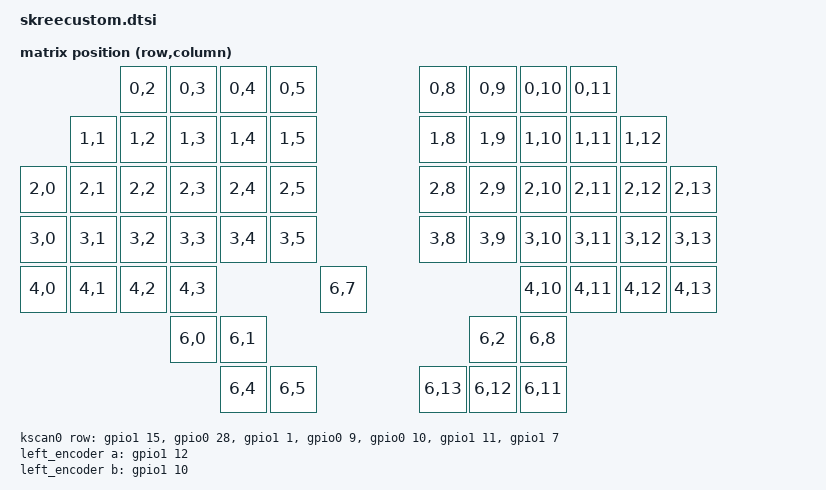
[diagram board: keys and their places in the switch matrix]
#include <dt-bindings/zmk/matrix_transform.h>
#include <input/processors.dtsi>
#include <dt-bindings/zmk/input_transform.h>

 / {
     chosen {
        zmk,kscan = &kscan0;
        zmk,matrix_transform = &default_transform;
    };

 
     default_transform: keymap_transform_0 {
         compatible = "zmk,matrix-transform";
         columns = <16>;
         rows = <7>;

         map = <
                    RC(0,2) RC(0,3) RC(0,4) RC(0,5)                     RC(0,8) RC(0,9) RC(0,10) RC(0,11)
            RC(1,1) RC(1,2) RC(1,3) RC(1,4) RC(1,5)                     RC(1,8) RC(1,9) RC(1,10) RC(1,11) RC(1,12)
    RC(2,0) RC(2,1) RC(2,2) RC(2,3) RC(2,4) RC(2,5)                     RC(2,8) RC(2,9) RC(2,10) RC(2,11) RC(2,12) RC(2,13) 
    RC(3,0) RC(3,1) RC(3,2) RC(3,3) RC(3,4) RC(3,5)                     RC(3,8) RC(3,9) RC(3,10) RC(3,11) RC(3,12) RC(3,13) 
    RC(4,0) RC(4,1) RC(4,2) RC(4,3)                 RC(6,7)                             RC(4,10) RC(4,11) RC(4,12) RC(4,13) 

			                RC(6,0) RC(6,1) RC(6,2) 	                                  RC(6,8)
			            		    RC(6,4) RC(6,5) 	                RC(6,13) RC(6,12) RC(6,11)




         >;
     };

     kscan0: kscan_0 {
        compatible = "zmk,kscan-gpio-matrix";
        wakeup-source;
        diode-direction = "col2row";
        row-gpios
             = <&gpio1 15 (GPIO_ACTIVE_HIGH | GPIO_PULL_DOWN)> //r1-7 1.15 0.28 1.01 0.09 0.10 1.11 1.07thumbs
            , <&gpio0 28 (GPIO_ACTIVE_HIGH | GPIO_PULL_DOWN)> 
            , <&gpio1 1 (GPIO_ACTIVE_HIGH | GPIO_PULL_DOWN)> 
            , <&gpio0 9 (GPIO_ACTIVE_HIGH | GPIO_PULL_DOWN)> 
            , <&gpio0 10 (GPIO_ACTIVE_HIGH | GPIO_PULL_DOWN)> 
            , <&gpio1 11 (GPIO_ACTIVE_HIGH | GPIO_PULL_DOWN)> 
            , <&gpio1 7 (GPIO_ACTIVE_HIGH | GPIO_PULL_DOWN)> 
            ;

    };

    left_encoder: encoder_left {
        compatible = "alps,ec11";
        a-gpios = <&gpio1 12 (GPIO_ACTIVE_HIGH | GPIO_PULL_UP)>;
        b-gpios = <&gpio1 10 (GPIO_ACTIVE_HIGH | GPIO_PULL_UP)>;
        steps = <144>;
        status = "disabled";
    };

    sensors: sensors {
        compatible = "zmk,keymap-sensors";
        sensors = <&left_encoder>;
        triggers-per-rotation = <36>;
    };

//right hand trackball
    split_inputs {
        #address-cells = <1>;
        #size-cells = <0>;

        trackball_peripheral_split: trackball_peripheral_split@0 {
            compatible = "zmk,input-split";
            reg = <0>;
        };
    };

    trackball_peripheral_listener: trackball_peripheral_listener {
        compatible = "zmk,input-listener";
        status = "disabled";
        device = <&trackball_peripheral_split>;
	input-processors =
	<&zip_xy_transform INPUT_TRANSFORM_X_INVERT>,
	<&zip_xy_transform INPUT_TRANSFORM_Y_INVERT>,
	//<&zip_xy_transform INPUT_TRANSFORM_XY_SWAP>,
	<&zip_temp_layer 3 500>;
    };
//left hand trackball
    trackball_central_listener: trackball_central_listener {
        compatible = "zmk,input-listener";
        status = "disabled";
	input-processors = 
	<&zip_xy_to_scroll_mapper>,
    //<&zip_scroll_transform INPUT_TRANSFORM_XY_SWAP>,
	<&zip_scroll_transform INPUT_TRANSFORM_X_INVERT>,
	<&zip_scroll_scaler 1 20>;

    };
};

&spi0 {
    status = "okay";
    pinctrl-0 = <&spi0_default>;
    pinctrl-1 = <&spi0_sleep>;
    pinctrl-names = "default", "sleep";
    cs-gpios = <&gpio1 13 GPIO_ACTIVE_LOW>;
    shifter: 595@0 {
        compatible = "zmk,gpio-595";
        status = "okay";
        gpio-controller;
        spi-max-frequency = <200000>;
        reg = <0>;
        #gpio-cells = <2>;
        ngpios = <8>;
    };
};
